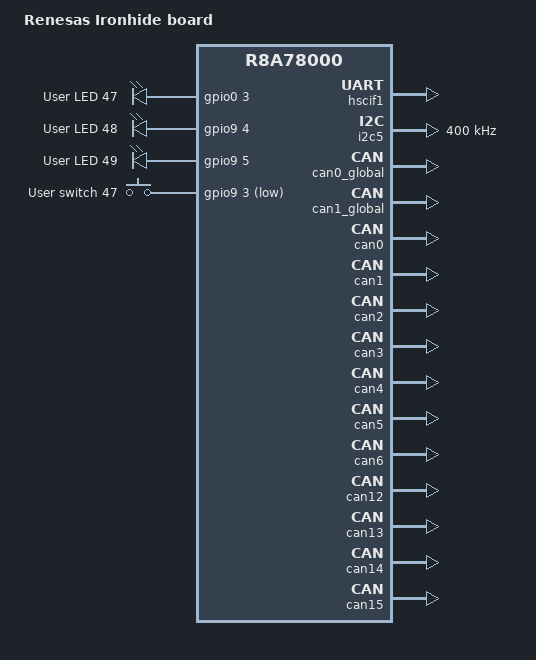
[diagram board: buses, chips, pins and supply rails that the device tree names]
/*
 * Copyright (c) 2026 BayLibre, SAS
 *
 * SPDX-License-Identifier: Apache-2.0
 *
 */

/dts-v1/;
#include <arm/renesas/rcar/gen5/r8a78000.dtsi>
#include "rcar_ironhide_x5h_r8a78000_r52-pinctrl.dtsi"
#include <zephyr/dt-bindings/input/input-event-codes.h>

/ {
	model = "Renesas Ironhide board";
	compatible = "renesas,ironhide-x5h-r52";

	chosen {
		zephyr,sram = &sram0;
		zephyr,console = &hscif1;
		zephyr,shell-uart = &hscif1;
		zephyr,canbus = &can0;
	};

	aliases {
		led0 = &user_led_0;
		led1 = &user_led_1;
		led2 = &user_led_2;
		sw0 = &user_button_0;
		sw1 = &user_button_1;
		sw2 = &user_button_2;
	};

	leds {
		compatible = "gpio-leds";

		user_led_0: led47 {
			gpios = <&gpio0 3 GPIO_ACTIVE_HIGH>;
			label = "User LED 47";
		};

		user_led_1: led48 {
			gpios = <&gpio9 4 GPIO_ACTIVE_HIGH>;
			label = "User LED 48";
		};

		user_led_2: led49 {
			gpios = <&gpio9 5 GPIO_ACTIVE_HIGH>;
			label = "User LED 49";
		};
	};

	gpio_keys {
		compatible = "gpio-keys";

		/*
		 * In the current boot process, u-boot configures GPIO9_01 and GPIO9_02
		 * for ethernet after booting Zephyr on Cortex-R52. So, let's disable
		 * sw45 and sw46 buttons by default even if they are present on the board.
		 */
		user_button_0: sw45 {
			gpios = <&gpio9 1 GPIO_ACTIVE_LOW>;
			label = "User switch 45";
			zephyr,code = <INPUT_KEY_0>;
			status = "disabled";
		};

		user_button_1: sw46 {
			gpios = <&gpio9 2 GPIO_ACTIVE_LOW>;
			label = "User switch 46";
			zephyr,code = <INPUT_KEY_1>;
			status = "disabled";
		};

		user_button_2: sw47 {
			gpios = <&gpio9 3 GPIO_ACTIVE_LOW>;
			label = "User switch 47";
			zephyr,code = <INPUT_KEY_2>;
		};
	};
};

&hscif1 {
	pinctrl-0 = <&hscif1_data_tx_default
		     &hscif1_data_rx_default>;
	pinctrl-names = "default";
	status = "okay";
};

&gpio0 {
	pinctrl-0 = <&gpio0_3_default>;
	pinctrl-names = "default";
	status = "okay";
};

&gpio9 {
	pinctrl-0 = <&gpio9_3_default
		     &gpio9_4_default
		     &gpio9_5_default>;
	pinctrl-names = "default";
	status = "okay";
};

&i2c5 {
	pinctrl-0 = <&i2c5_scl_default
		     &i2c5_sda_default>;
	pinctrl-names = "default";
	clock-frequency = <I2C_BITRATE_FAST>;
	status = "okay";
};

&can0_global {
	status = "okay";
};

&can1_global {
	status = "okay";
};

&can0 {
	pinctrl-0 = <&can0_rx_default
		     &can0_tx_default>;
	pinctrl-names = "default";
	status = "okay";
};

&can1 {
	pinctrl-0 = <&can1_rx_default
		     &can1_tx_default>;
	pinctrl-names = "default";
	status = "okay";
};

&can2 {
	pinctrl-0 = <&can2_rx_default
		     &can2_tx_default>;
	pinctrl-names = "default";
	status = "okay";
};

&can3 {
	pinctrl-0 = <&can3_rx_default
		     &can3_tx_default>;
	pinctrl-names = "default";
	status = "okay";
};

&can4 {
	pinctrl-0 = <&can4_rx_default
		     &can4_tx_default>;
	pinctrl-names = "default";
	status = "okay";
};

&can5 {
	pinctrl-0 = <&can5_rx_default
		     &can5_tx_default>;
	pinctrl-names = "default";
	status = "okay";
};

&can6 {
	pinctrl-0 = <&can6_rx_default
		     &can6_tx_default>;
	pinctrl-names = "default";
	status = "okay";
};

&can12 {
	pinctrl-0 = <&can12_rx_default
		     &can12_tx_default>;
	pinctrl-names = "default";
	status = "okay";
};

&can13 {
	pinctrl-0 = <&can13_rx_default
		     &can13_tx_default>;
	pinctrl-names = "default";
	status = "okay";
};

&can14 {
	pinctrl-0 = <&can14_rx_default
		     &can14_tx_default>;
	pinctrl-names = "default";
	status = "okay";
};

&can15 {
	pinctrl-0 = <&can15_rx_default
		     &can15_tx_default>;
	pinctrl-names = "default";
	status = "okay";
};
